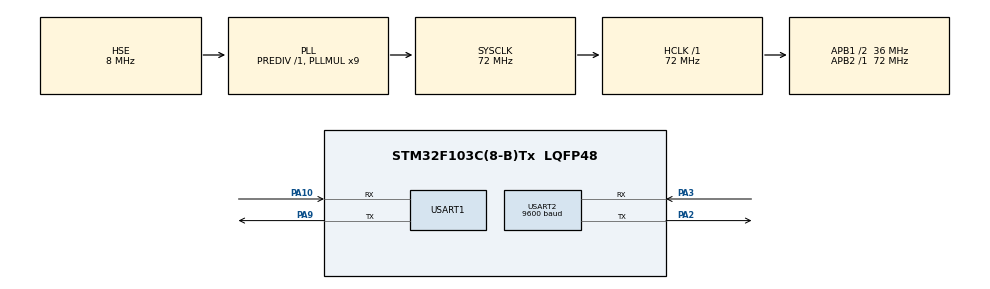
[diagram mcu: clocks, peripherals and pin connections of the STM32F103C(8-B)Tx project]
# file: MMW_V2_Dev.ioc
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Dma.Request0=USART2_RX
Dma.Request1=USART2_TX
Dma.Request2=USART1_RX
Dma.Request3=USART1_TX
Dma.USART1_RX.2.Direction=DMA_PERIPH_TO_MEMORY
Dma.USART1_RX.2.Instance=DMA1_Channel5
Dma.USART1_RX.2.MemDataAlignment=DMA_MDATAALIGN_BYTE
Dma.USART1_RX.2.MemInc=DMA_MINC_ENABLE
Dma.USART1_RX.2.Mode=DMA_CIRCULAR
Dma.USART1_RX.2.PeriphDataAlignment=DMA_PDATAALIGN_BYTE
Dma.USART1_RX.2.PeriphInc=DMA_PINC_DISABLE
Dma.USART1_RX.2.Priority=DMA_PRIORITY_LOW
Dma.USART1_TX.3.Direction=DMA_MEMORY_TO_PERIPH
Dma.USART1_TX.3.Instance=DMA1_Channel4
Dma.USART1_TX.3.MemDataAlignment=DMA_MDATAALIGN_BYTE
Dma.USART1_TX.3.MemInc=DMA_MINC_ENABLE
Dma.USART1_TX.3.Mode=DMA_CIRCULAR
Dma.USART1_TX.3.PeriphDataAlignment=DMA_PDATAALIGN_BYTE
Dma.USART1_TX.3.PeriphInc=DMA_PINC_DISABLE
Dma.USART1_TX.3.Priority=DMA_PRIORITY_LOW
Dma.USART2_RX.0.Direction=DMA_PERIPH_TO_MEMORY
Dma.USART2_RX.0.Instance=DMA1_Channel6
Dma.USART2_RX.0.MemDataAlignment=DMA_MDATAALIGN_BYTE
Dma.USART2_RX.0.MemInc=DMA_MINC_ENABLE
Dma.USART2_RX.0.Mode=DMA_CIRCULAR
Dma.USART2_RX.0.PeriphDataAlignment=DMA_PDATAALIGN_BYTE
Dma.USART2_RX.0.PeriphInc=DMA_PINC_DISABLE
Dma.USART2_RX.0.Priority=DMA_PRIORITY_LOW
Dma.USART2_TX.1.Direction=DMA_MEMORY_TO_PERIPH
Dma.USART2_TX.1.Instance=DMA1_Channel7
Dma.USART2_TX.1.MemDataAlignment=DMA_MDATAALIGN_BYTE
Dma.USART2_TX.1.MemInc=DMA_MINC_ENABLE
Dma.USART2_TX.1.Mode=DMA_CIRCULAR
Dma.USART2_TX.1.PeriphDataAlignment=DMA_PDATAALIGN_BYTE
Dma.USART2_TX.1.PeriphInc=DMA_PINC_DISABLE
Dma.USART2_TX.1.Priority=DMA_PRIORITY_LOW
Mcu.Family=STM32F1
Mcu.Name=STM32F103C(8-B)Tx
Mcu.Package=LQFP48
NVIC.DMA1_Channel4_IRQn=true\:0\:0\:false\:false\:true\:false\:true\:true
NVIC.DMA1_Channel5_IRQn=true\:0\:0\:false\:false\:true\:false\:true\:true
NVIC.DMA1_Channel6_IRQn=true\:0\:0\:false\:false\:true\:false\:true\:true
NVIC.DMA1_Channel7_IRQn=true\:0\:0\:false\:false\:true\:false\:true\:true
NVIC.PriorityGroup=NVIC_PRIORITYGROUP_4
NVIC.USART1_IRQn=true\:0\:0\:false\:false\:true\:true\:true\:true
NVIC.USART2_IRQn=true\:0\:0\:false\:false\:true\:true\:true\:true
PA10.Mode=Asynchronous
PA10.Signal=USART1_RX
PA13.Mode=Serial_Wire
PA13.Signal=SYS_JTMS-SWDIO
PA14.Mode=Serial_Wire
PA14.Signal=SYS_JTCK-SWCLK
PA2.Mode=Asynchronous
PA2.Signal=USART2_TX
PA3.Mode=Asynchronous
PA3.Signal=USART2_RX
PA9.Mode=Asynchronous
PA9.Signal=USART1_TX
PD0-OSC_IN.Mode=HSE-External-Oscillator
PD0-OSC_IN.Signal=RCC_OSC_IN
PD1-OSC_OUT.Mode=HSE-External-Oscillator
PD1-OSC_OUT.Signal=RCC_OSC_OUT
ProjectManager.HeapSize=0x200
ProjectManager.StackSize=0x400
ProjectManager.TargetToolchain=STM32CubeIDE
RCC.AHBFreq_Value=72000000
RCC.APB1CLKDivider=RCC_HCLK_DIV2
RCC.APB1Freq_Value=36000000
RCC.APB1TimFreq_Value=72000000
RCC.APB2Freq_Value=72000000
RCC.APB2TimFreq_Value=72000000
RCC.HCLKFreq_Value=72000000
RCC.PLLMUL=RCC_PLL_MUL9
RCC.PLLSourceVirtual=RCC_PLLSOURCE_HSE
RCC.SYSCLKFreq_VALUE=72000000
RCC.SYSCLKSource=RCC_SYSCLKSOURCE_PLLCLK
RCC.USBFreq_Value=72000000
USART1.VirtualMode=VM_ASYNC
USART2.BaudRate=9600
USART2.VirtualMode=VM_ASYNC
USART2.WordLength=WORDLENGTH_9B
board=custom

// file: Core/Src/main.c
/* USER CODE BEGIN Header */
/**
  ******************************************************************************
  * @file           : main.c
  * @brief          : Main program body
  ******************************************************************************
  * @attention
  *
  * Copyright (c) 2022 STMicroelectronics.
  * All rights reserved.
  *
  * This software is licensed under terms that can be found in the LICENSE file
  * in the root directory of this software component.
  * If no LICENSE file comes with this software, it is provided AS-IS.
  *
  ******************************************************************************
  */
/* USER CODE END Header */
#include "main.h"

 UART_HandleTypeDef huart1;
UART_HandleTypeDef huart2;
DMA_HandleTypeDef hdma_usart1_rx;
DMA_HandleTypeDef hdma_usart1_tx;
DMA_HandleTypeDef hdma_usart2_rx;
DMA_HandleTypeDef hdma_usart2_tx;

void SystemClock_Config(void);
static void MX_GPIO_Init(void);
static void MX_DMA_Init(void);
static void MX_USART1_UART_Init(void);
static void MX_USART2_UART_Init(void);

/* USER CODE BEGIN 0 */

uint8_t Rx_data_from_stc[5];
uint8_t receivedData4G[2];
uint8_t Transmit_To_DTU;

uint8_t Drop_Success[5] = {0x0FB,  0x002,  0x005,  0x000,  0x0FB};
uint8_t Drop_Not_Success[5] = {0x0FB,  0x002,  0x002,  0x000,  0x0FB};
uint8_t Motor_Error[5] = {0x0FB,  0x002,  0x000,  0x000,  0x0FB};

uint8_t dapat[2];

uint16_t A1[6] = {0x1FB,  0x102,  0x106,  0x10A,  0x101,  0x1FB};
uint16_t A2[6] = {0x1FB,  0x102,  0x106,  0x109,  0x101,  0x1FB};
uint16_t A3[6] = {0x1FB,  0x102,  0x106,  0x108,  0x101,  0x1FB};
uint16_t A4[6] = {0x1FB,  0x102,  0x106,  0x107,  0x101,  0x1FB};
uint16_t A5[6] = {0x1FB,  0x102,  0x106,  0x106,  0x101,  0x1FB};
uint16_t A6[6] = {0x1FB,  0x102,  0x106,  0x105,  0x101,  0x1FB};
uint16_t A7[6] = {0x1FB,  0x102,  0x106,  0x104,  0x101,  0x1FB};
uint16_t A8[6] = {0x1FB,  0x102,  0x106,  0x103,  0x101,  0x1FB};
uint16_t A9[6] = {0x1FB,  0x102,  0x106,  0x102,  0x101,  0x1FB};
uint16_t A10[6] ={0x1FB,  0x102,  0x106,  0x101,  0x101,  0x1FB};
uint16_t B1[6] = {0x1FB,  0x102,  0x105,  0x10A,  0x101,  0x1FB};
uint16_t B2[6] = {0x1FB,  0x102,  0x105,  0x109,  0x101,  0x1FB};
uint16_t B3[6] = {0x1FB,  0x102,  0x105,  0x108,  0x101,  0x1FB};
uint16_t B4[6] = {0x1FB,  0x102,  0x105,  0x107,  0x101,  0x1FB};
uint16_t B5[6] = {0x1FB,  0x102,  0x105,  0x106,  0x101,  0x1FB};
uint16_t B6[6] = {0x1FB,  0x102,  0x105,  0x105,  0x101,  0x1FB};
uint16_t B7[6] = {0x1FB,  0x102,  0x105,  0x104,  0x101,  0x1FB};
uint16_t B8[6] = {0x1FB,  0x102,  0x105,  0x103,  0x101,  0x1FB};
uint16_t B9[6] = {0x1FB,  0x102,  0x105,  0x102,  0x101,  0x1FB};
uint16_t B10[6] ={0x1FB,  0x102,  0x105,  0x101,  0x101,  0x1FB};
uint16_t C1[6] = {0x1FB,  0x102,  0x104,  0x10A,  0x101,  0x1FB};
uint16_t C2[6] = {0x1FB,  0x102,  0x104,  0x109,  0x101,  0x1FB};
uint16_t C3[6] = {0x1FB,  0x102,  0x104,  0x108,  0x101,  0x1FB};
uint16_t C4[6] = {0x1FB,  0x102,  0x104,  0x107,  0x101,  0x1FB};
uint16_t C5[6] = {0x1FB,  0x102,  0x104,  0x106,  0x101,  0x1FB};
uint16_t C6[6] = {0x1FB,  0x102,  0x104,  0x105,  0x101,  0x1FB};
uint16_t C7[6] = {0x1FB,  0x102,  0x104,  0x104,  0x101,  0x1FB};
uint16_t C8[6] = {0x1FB,  0x102,  0x104,  0x103,  0x101,  0x1FB};
uint16_t C9[6] = {0x1FB,  0x102,  0x104,  0x102,  0x101,  0x1FB};
uint16_t C10[6] ={0x1FB,  0x102,  0x104,  0x101,  0x101,  0x1FB};
uint16_t D1[6] = {0x1FB,  0x102,  0x103,  0x10A,  0x101,  0x1FB};
uint16_t D2[6] = {0x1FB,  0x102,  0x103,  0x109,  0x101,  0x1FB};
uint16_t D3[6] = {0x1FB,  0x102,  0x103,  0x108,  0x101,  0x1FB};
uint16_t D4[6] = {0x1FB,  0x102,  0x103,  0x107,  0x101,  0x1FB};
uint16_t D5[6] = {0x1FB,  0x102,  0x103,  0x106,  0x101,  0x1FB};
uint16_t D6[6] = {0x1FB,  0x102,  0x103,  0x105,  0x101,  0x1FB};
uint16_t D7[6] = {0x1FB,  0x102,  0x103,  0x104,  0x101,  0x1FB};
uint16_t D8[6] = {0x1FB,  0x102,  0x103,  0x103,  0x101,  0x1FB};
uint16_t D9[6] = {0x1FB,  0x102,  0x103,  0x102,  0x101,  0x1FB};
uint16_t D10[6] ={0x1FB,  0x102,  0x103,  0x101,  0x101,  0x1FB};
uint16_t E1[6] = {0x1FB,  0x102,  0x102,  0x10A,  0x101,  0x1FB};
uint16_t E2[6] = {0x1FB,  0x102,  0x102,  0x109,  0x101,  0x1FB};
uint16_t E3[6] = {0x1FB,  0x102,  0x102,  0x108,  0x101,  0x1FB};
uint16_t E4[6] = {0x1FB,  0x102,  0x102,  0x107,  0x101,  0x1FB};
uint16_t E5[6] = {0x1FB,  0x102,  0x102,  0x106,  0x101,  0x1FB};
uint16_t E6[6] = {0x1FB,  0x102,  0x102,  0x105,  0x101,  0x1FB};
uint16_t E7[6] = {0x1FB,  0x102,  0x102,  0x104,  0x101,  0x1FB};
uint16_t E8[6] = {0x1FB,  0x102,  0x102,  0x103,  0x101,  0x1FB};
uint16_t E9[6] = {0x1FB,  0x102,  0x102,  0x102,  0x101,  0x1FB};
uint16_t E10[6] ={0x1FB,  0x102,  0x102,  0x101,  0x101,  0x1FB};
uint16_t F1[6] = {0x1FB,  0x102,  0x101,  0x10A,  0x101,  0x1FB};
uint16_t F2[6] = {0x1FB,  0x102,  0x101,  0x109,  0x101,  0x1FB};
uint16_t F3[6] = {0x1FB,  0x102,  0x101,  0x108,  0x101,  0x1FB};
uint16_t F4[6] = {0x1FB,  0x102,  0x101,  0x107,  0x101,  0x1FB};
uint16_t F5[6] = {0x1FB,  0x102,  0x101,  0x106,  0x101,  0x1FB};
uint16_t F6[6] = {0x1FB,  0x102,  0x101,  0x105,  0x101,  0x1FB};
uint16_t F7[6] = {0x1FB,  0x102,  0x101,  0x104,  0x101,  0x1FB};
uint16_t F8[6] = {0x1FB,  0x102,  0x101,  0x103,  0x101,  0x1FB};
uint16_t F9[6] = {0x1FB,  0x102,  0x101,  0x102,  0x101,  0x1FB};
uint16_t F10[6] ={0x1FB,  0x102,  0x101,  0x101,  0x101,  0x1FB};

void HAL_UART_TxCpltCallback(UART_HandleTypeDef *huart)
{
	//HAL_UART_Transmit_IT(&huart2, Tx_data, sizeof(Tx_data));
}

void HAL_UART_RxCpltCallback(UART_HandleTypeDef *huart){
	HAL_UART_Receive_DMA(&huart2, Rx_data_from_stc, 5); //restart the interupt reception mode
	HAL_UART_Receive_IT(&huart1,receivedData4G, 2);

}

void transmit_Data_to_DTU(){

	if (strcmp(Rx_data_from_stc, Drop_Success) == 0){
		HAL_UART_Transmit_IT(&huart1, "Hi\n", sizeof("Hi\n"));
		dapat[0] = 2;
		dapat[1] = 2;
	}
	else if (strcmp(Rx_data_from_stc, Drop_Not_Success) == 0){
		HAL_UART_Transmit_IT(&huart1, "ND\n", 5);
		dapat[0] = 3;
		dapat[1] = 3;
	}
	else if (strcmp(Rx_data_from_stc, Motor_Error) == 0){
		HAL_UART_Transmit_IT(&huart1, "ME\n", 5);
		dapat[0] = 4;
		dapat[1] = 4;
	}
	else{

	}
}

void receive_Command_from_DTU(void){

	/////TRAY A/////
	if(strcmp(receivedData4G, "A1") == 0){       		//A1
	     HAL_UART_Transmit_IT(&huart2, (uint8_t *)A1, 6);
	     HAL_Delay(2000);
	     receivedData4G[0] = 0;
	     receivedData4G[1] = 0;
	}

	 else if (strcmp(receivedData4G, "A2") == 0){       //A2
	     HAL_UART_Transmit_IT(&huart2, (uint8_t *)A2, 6);
	     HAL_Delay(2000);
	     receivedData4G[0] = 0;
	     receivedData4G[1] = 0;
	  }
	 else if (strcmp(receivedData4G, "A3") == 0){       //A3
	     HAL_UART_Transmit_IT(&huart2, (uint8_t *)A3, 6);
	     HAL_Delay(2000);
	     receivedData4G[0] = 0;
	     receivedData4G[1] = 0;
	  }
	 else if (strcmp(receivedData4G, "A4") == 0){       //A4
	     HAL_UART_Transmit_IT(&huart2, (uint8_t *)A4, 6);
	     HAL_Delay(2000);
	     receivedData4G[0] = 0;
	     receivedData4G[1] = 0;
	  }
	 else if (strcmp(receivedData4G, "A5") == 0){       //A5
	     HAL_UART_Transmit_IT(&huart2, (uint8_t *)A5, 6);
	     HAL_Delay(2000);
	     receivedData4G[0] = 0;
	     receivedData4G[1] = 0;
	  }
	 else if (strcmp(receivedData4G, "A6") == 0){       //A6
	     HAL_UART_Transmit_IT(&huart2, (uint8_t *)A6, 6);
	     HAL_Delay(2000);
	     receivedData4G[0] = 0;
	     receivedData4G[1] = 0;
	  }
	 else if (strcmp(receivedData4G, "A7") == 0){       //A7
	     HAL_UART_Transmit_IT(&huart2, (uint8_t *)A7, 6);
	     HAL_Delay(2000);
	     receivedData4G[0] = 0;
	     receivedData4G[1] = 0;
	  }
	 else if (strcmp(receivedData4G, "A8") == 0){       //A8
	     HAL_UART_Transmit_IT(&huart2, (uint8_t *)A8, 6);
	     HAL_Delay(2000);
	     receivedData4G[0] = 0;
	     receivedData4G[1] = 0;
	  }
	 else if (strcmp(receivedData4G, "A9") == 0){       //A9
	     HAL_UART_Transmit_IT(&huart2, (uint8_t *)A9, 6);
	     HAL_Delay(2000);
	     receivedData4G[0] = 0;
	     receivedData4G[1] = 0;
	  }
	 else if (strcmp(receivedData4G, "AA") == 0){       //A10
	     HAL_UART_Transmit_IT(&huart2, (uint8_t *)A10, 6);
	     HAL_Delay(2000);
	     receivedData4G[0] = 0;
	     receivedData4G[1] = 0;
	  }
	 /////TRAY B/////
	 else if (strcmp(receivedData4G, "B1") == 0){       //B1
	     HAL_UART_Transmit_IT(&huart2, (uint8_t *)B1, 6);
	     HAL_Delay(2000);
	     receivedData4G[0] = 0;
	     receivedData4G[1] = 0;
	  }
	 else if (strcmp(receivedData4G, "B2") == 0){       //B2
	     HAL_UART_Transmit_IT(&huart2, (uint8_t *)B2, 6);
	     HAL_Delay(2000);
	     receivedData4G[0] = 0;
	     receivedData4G[1] = 0;
	  }
	 else if (strcmp(receivedData4G, "B3") == 0){       //B3
	     HAL_UART_Transmit_IT(&huart2, (uint8_t *)B3, 6);
	     HAL_Delay(2000);
	     receivedData4G[0] = 0;
	     receivedData4G[1] = 0;
	  }
	 else if (strcmp(receivedData4G, "B4") == 0){       //B4
	     HAL_UART_Transmit_IT(&huart2, (uint8_t *)B4, 6);
	     HAL_Delay(2000);
	     receivedData4G[0] = 0;
	     receivedData4G[1] = 0;
	  }
	 else if (strcmp(receivedData4G, "B5") == 0){       //B5
	     HAL_UART_Transmit_IT(&huart2, (uint8_t *)B5, 6);
	     HAL_Delay(2000);
	     receivedData4G[0] = 0;
	     receivedData4G[1] = 0;
	  }
	 else if (strcmp(receivedData4G, "B6") == 0){       //B6
	     HAL_UART_Transmit_IT(&huart2, (uint8_t *)B6, 6);
	     HAL_Delay(2000);
	     receivedData4G[0] = 0;
	     receivedData4G[1] = 0;
	  }
	 else if (strcmp(receivedData4G, "B7") == 0){       //B7
	     HAL_UART_Transmit_IT(&huart2, (uint8_t *)B7, 6);
	     HAL_Delay(2000);
	     receivedData4G[0] = 0;
	     receivedData4G[1] = 0;
	  }
	 else if (strcmp(receivedData4G, "B8") == 0){       //B8
	     HAL_UART_Transmit_IT(&huart2, (uint8_t *)B8, 6);
	     HAL_Delay(2000);
	     receivedData4G[0] = 0;
	     receivedData4G[1] = 0;
	  }
	 else if (strcmp(receivedData4G, "B9") == 0){       //B9
	     HAL_UART_Transmit_IT(&huart2, (uint8_t *)B9, 6);
	     HAL_Delay(2000);
	     receivedData4G[0] = 0;
	     receivedData4G[1] = 0;
	  }
	 else if (strcmp(receivedData4G, "BB") == 0){       //B10
	     HAL_UART_Transmit_IT(&huart2, (uint8_t *)B10, 6);
	     HAL_Delay(2000);
	     receivedData4G[0] = 0;
	     receivedData4G[1] = 0;
	  }
	 /////TRAY C/////
	 else if (strcmp(receivedData4G, "C1") == 0){       //C1
	     HAL_UART_Transmit_IT(&huart2, (uint8_t *)C1, 6);
	     HAL_Delay(2000);
	     receivedData4G[0] = 0;
	     receivedData4G[1] = 0;
	  }
	 else if (strcmp(receivedData4G, "C2") == 0){       //C2
	     HAL_UART_Transmit_IT(&huart2, (uint8_t *)C2, 6);
	     HAL_Delay(2000);
	     receivedData4G[0] = 0;
	     receivedData4G[1] = 0;
	  }
	 else if (strcmp(receivedData4G, "C3") == 0){       //C3
	     HAL_UART_Transmit_IT(&huart2, (uint8_t *)C3, 6);
	     HAL_Delay(2000);
	     receivedData4G[0] = 0;
	     receivedData4G[1] = 0;
	  }
	 else if (strcmp(receivedData4G, "C4") == 0){       //C4
	     HAL_UART_Transmit_IT(&huart2, (uint8_t *)C4, 6);
	     HAL_Delay(2000);
	     receivedData4G[0] = 0;
	     receivedData4G[1] = 0;
	  }
	 else if (strcmp(receivedData4G, "C5") == 0){       //C5
	     HAL_UART_Transmit_IT(&huart2, (uint8_t *)C5, 6);
	     HAL_Delay(2000);
	     receivedData4G[0] = 0;
	     receivedData4G[1] = 0;
	  }
	 else if (strcmp(receivedData4G, "C6") == 0){       //C6
	     HAL_UART_Transmit_IT(&huart2, (uint8_t *)C6, 6);
	     HAL_Delay(2000);
	     receivedData4G[0] = 0;
	     receivedData4G[1] = 0;
	  }
	 else if (strcmp(receivedData4G, "C7") == 0){       //C7
	     HAL_UART_Transmit_IT(&huart2, (uint8_t *)C7, 6);
	     HAL_Delay(2000);
	     receivedData4G[0] = 0;
	     receivedData4G[1] = 0;
	  }
	 else if (strcmp(receivedData4G, "C8") == 0){       //C8
	     HAL_UART_Transmit_IT(&huart2, (uint8_t *)C8, 6);
	     HAL_Delay(2000);
	     receivedData4G[0] = 0;
	     receivedData4G[1] = 0;
	  }
	 else if (strcmp(receivedData4G, "C9") == 0){       //C9
	     HAL_UART_Transmit_IT(&huart2, (uint8_t *)C9, 6);
	     HAL_Delay(2000);
	     receivedData4G[0] = 0;
	     receivedData4G[1] = 0;
	  }
	 else if (strcmp(receivedData4G, "CC") == 0){       //C10
	     HAL_UART_Transmit_IT(&huart2, (uint8_t *)C10, 6);
	     HAL_Delay(2000);
	     receivedData4G[0] = 0;
	     receivedData4G[1] = 0;
	  }
	 /////TRAY D/////
	 else if (strcmp(receivedData4G, "D1") == 0){       //D1
	     HAL_UART_Transmit_IT(&huart2, (uint8_t *)D1, 6);
	     HAL_Delay(2000);
	     receivedData4G[0] = 0;
	     receivedData4G[1] = 0;
	  }
	 else if (strcmp(receivedData4G, "D2") == 0){       //D2
	     HAL_UART_Transmit_IT(&huart2, (uint8_t *)D2, 6);
	     HAL_Delay(2000);
	     receivedData4G[0] = 0;
	     receivedData4G[1] = 0;
	  }
	 else if (strcmp(receivedData4G, "D3") == 0){       //D3
	     HAL_UART_Transmit_IT(&huart2, (uint8_t *)D3, 6);
	     HAL_Delay(2000);
	     receivedData4G[0] = 0;
	     receivedData4G[1] = 0;
	  }
	 else if (strcmp(receivedData4G, "D4") == 0){       //D4
	     HAL_UART_Transmit_IT(&huart2, (uint8_t *)D4, 6);
	     HAL_Delay(2000);
	     receivedData4G[0] = 0;
	     receivedData4G[1] = 0;
	  }
	 else if (strcmp(receivedData4G, "D5") == 0){       //D5
	     HAL_UART_Transmit_IT(&huart2, (uint8_t *)D5, 6);
	     HAL_Delay(2000);
	     receivedData4G[0] = 0;
	     receivedData4G[1] = 0;
	  }
	 else if (strcmp(receivedData4G, "D6") == 0){       //D6
	     HAL_UART_Transmit_IT(&huart2, (uint8_t *)D6, 6);
	     HAL_Delay(2000);
	     receivedData4G[0] = 0;
	     receivedData4G[1] = 0;
	  }
	 else if (strcmp(receivedData4G, "D7") == 0){       //D7
	     HAL_UART_Transmit_IT(&huart2, (uint8_t *)D7, 6);
	     HAL_Delay(2000);
	     receivedData4G[0] = 0;
	     receivedData4G[1] = 0;
	  }
	 else if (strcmp(receivedData4G, "D8") == 0){       //D8
	     HAL_UART_Transmit_IT(&huart2, (uint8_t *)D8, 6);
	     HAL_Delay(2000);
	     receivedData4G[0] = 0;
	     receivedData4G[1] = 0;
	  }
	 else if (strcmp(receivedData4G, "D9") == 0){       //D9
	     HAL_UART_Transmit_IT(&huart2, (uint8_t *)D9, 6);
	     HAL_Delay(2000);
	     receivedData4G[0] = 0;
	     receivedData4G[1] = 0;
	  }
	 else if (strcmp(receivedData4G, "DD") == 0){       //D10
	     HAL_UART_Transmit_IT(&huart2, (uint8_t *)D10, 6);
	     HAL_Delay(2000);
	     receivedData4G[0] = 0;
	     receivedData4G[1] = 0;
	  }
	 /////TRAY E/////
	 else if (strcmp(receivedData4G, "E1") == 0){       //E1
	     HAL_UART_Transmit_IT(&huart2, (uint8_t *)E1, 6);
	     HAL_Delay(2000);
	     receivedData4G[0] = 0;
	     receivedData4G[1] = 0;
	  }
	 else if (strcmp(receivedData4G, "E2") == 0){       //E2
	     HAL_UART_Transmit_IT(&huart2, (uint8_t *)E2, 6);
	     HAL_Delay(2000);
	     receivedData4G[0] = 0;
	     receivedData4G[1] = 0;
	  }
	 else if (strcmp(receivedData4G, "E3") == 0){       //E3
	     HAL_UART_Transmit_IT(&huart2, (uint8_t *)E3, 6);
	     HAL_Delay(2000);
	     receivedData4G[0] = 0;
	     receivedData4G[1] = 0;
	  }
	 else if (strcmp(receivedData4G, "E4") == 0){       //E4
	     HAL_UART_Transmit_IT(&huart2, (uint8_t *)E4, 6);
	     HAL_Delay(2000);
	     receivedData4G[0] = 0;
	     receivedData4G[1] = 0;
	  }
	 else if (strcmp(receivedData4G, "E5") == 0){       //E5
	     HAL_UART_Transmit_IT(&huart2, (uint8_t *)E5, 6);
	     HAL_Delay(2000);
	     receivedData4G[0] = 0;
	     receivedData4G[1] = 0;
	  }
	 else if (strcmp(receivedData4G, "E6") == 0){       //E6
	     HAL_UART_Transmit_IT(&huart2, (uint8_t *)E6, 6);
	     HAL_Delay(2000);
	     receivedData4G[0] = 0;
	     receivedData4G[1] = 0;
	  }
	 else if (strcmp(receivedData4G, "E7") == 0){       //E7
	     HAL_UART_Transmit_IT(&huart2, (uint8_t *)E7, 6);
	     HAL_Delay(2000);
	     receivedData4G[0] = 0;
	     receivedData4G[1] = 0;
	  }
	 else if (strcmp(receivedData4G, "E8") == 0){       //E8
	     HAL_UART_Transmit_IT(&huart2, (uint8_t *)E8, 6);
	     HAL_Delay(2000);
	     receivedData4G[0] = 0;
	     receivedData4G[1] = 0;
	  }
	 else if (strcmp(receivedData4G, "E9") == 0){       //E9
	     HAL_UART_Transmit_IT(&huart2, (uint8_t *)E9, 6);
	     HAL_Delay(2000);
	     receivedData4G[0] = 0;
	     receivedData4G[1] = 0;
	  }
	 else if (strcmp(receivedData4G, "EE") == 0){       //E10
	     HAL_UART_Transmit_IT(&huart2, (uint8_t *)E10, 6);
	     HAL_Delay(2000);
	     receivedData4G[0] = 0;
	     receivedData4G[1] = 0;
	  }
	 /////TRAY F/////
	 else if (strcmp(receivedData4G, "F1") == 0){       //F1
	     HAL_UART_Transmit_IT(&huart2, (uint8_t *)F1, 6);
	     HAL_Delay(2000);
	     receivedData4G[0] = 0;
	     receivedData4G[1] = 0;
	  }
	 else if (strcmp(receivedData4G, "F2") == 0){       //F2
	     HAL_UART_Transmit_IT(&huart2, (uint8_t *)F2, 6);
	     HAL_Delay(2000);
	     receivedData4G[0] = 0;
	     receivedData4G[1] = 0;
	  }
	 else if (strcmp(receivedData4G, "F3") == 0){       //F3
	     HAL_UART_Transmit_IT(&huart2, (uint8_t *)F3, 6);
	     HAL_Delay(2000);
	     receivedData4G[0] = 0;
	     receivedData4G[1] = 0;
	  }
	 else if (strcmp(receivedData4G, "F4") == 0){       //F4
	     HAL_UART_Transmit_IT(&huart2, (uint8_t *)F4, 6);
	     HAL_Delay(2000);
	     receivedData4G[0] = 0;
	     receivedData4G[1] = 0;
	  }
	 else if (strcmp(receivedData4G, "F5") == 0){       //F5
	     HAL_UART_Transmit_IT(&huart2, (uint8_t *)F5, 6);
	     HAL_Delay(2000);
	     receivedData4G[0] = 0;
	     receivedData4G[1] = 0;
	  }
	 else if (strcmp(receivedData4G, "F6") == 0){       //F6
	     HAL_UART_Transmit_IT(&huart2, (uint8_t *)F6, 6);
	     HAL_Delay(2000);
	     receivedData4G[0] = 0;
	     receivedData4G[1] = 0;
	  }
	 else if (strcmp(receivedData4G, "F7") == 0){       //F7
	     HAL_UART_Transmit_IT(&huart2, (uint8_t *)F7, 6);
	     HAL_Delay(2000);
	     receivedData4G[0] = 0;
	     receivedData4G[1] = 0;
	  }
	 else if (strcmp(receivedData4G, "F8") == 0){       //F8
	     HAL_UART_Transmit_IT(&huart2, (uint8_t *)F8, 6);
	     HAL_Delay(2000);
	     receivedData4G[0] = 0;
	     receivedData4G[1] = 0;
	  }
	 else if (strcmp(receivedData4G, "F9") == 0){       //F9
	     HAL_UART_Transmit_IT(&huart2, (uint8_t *)F9, 6);
	     HAL_Delay(2000);
	     receivedData4G[0] = 0;
	     receivedData4G[1] = 0;
	  }
	 else if (strcmp(receivedData4G, "FF") == 0){       //F10
	     HAL_UART_Transmit_IT(&huart2, (uint8_t *)F10, 6);
	     HAL_Delay(2000);
	     receivedData4G[0] = 0;
	     receivedData4G[1] = 0;
	  }

	 else {

	 }

}

/* USER CODE END 0 */

int main(void)
{

  /* MCU Configuration--------------------------------------------------------*/

  /* Reset of all peripherals, Initializes the Flash interface and the Systick. */
  HAL_Init();

  /* Configure the system clock */
  SystemClock_Config();

  /* Initialize all configured peripherals */
  MX_GPIO_Init();
  MX_DMA_Init();
  MX_USART1_UART_Init();
  MX_USART2_UART_Init();
  /* USER CODE BEGIN 2 */
  HAL_UART_Receive_DMA(&huart2, Rx_data_from_stc, 5);
  HAL_UART_Receive_IT(&huart1,receivedData4G, 2);
  /* USER CODE END 2 */

  /* Infinite loop */
  while (1)
  {
	  receive_Command_from_DTU();
	  transmit_Data_to_DTU();
  }
}

void SystemClock_Config(void)
{
  RCC_OscInitTypeDef RCC_OscInitStruct = {0};
  RCC_ClkInitTypeDef RCC_ClkInitStruct = {0};

  /** Initializes the RCC Oscillators according to the specified parameters
  * in the RCC_OscInitTypeDef structure.
  */
  RCC_OscInitStruct.OscillatorType = RCC_OSCILLATORTYPE_HSE;
  RCC_OscInitStruct.HSEState = RCC_HSE_ON;
  RCC_OscInitStruct.HSEPredivValue = RCC_HSE_PREDIV_DIV1;
  RCC_OscInitStruct.HSIState = RCC_HSI_ON;
  RCC_OscInitStruct.PLL.PLLState = RCC_PLL_ON;
  RCC_OscInitStruct.PLL.PLLSource = RCC_PLLSOURCE_HSE;
  RCC_OscInitStruct.PLL.PLLMUL = RCC_PLL_MUL9;
  if (HAL_RCC_OscConfig(&RCC_OscInitStruct) != HAL_OK)
  {
    Error_Handler();
  }

  /** Initializes the CPU, AHB and APB buses clocks
  */
  RCC_ClkInitStruct.ClockType = RCC_CLOCKTYPE_HCLK|RCC_CLOCKTYPE_SYSCLK
                              |RCC_CLOCKTYPE_PCLK1|RCC_CLOCKTYPE_PCLK2;
  RCC_ClkInitStruct.SYSCLKSource = RCC_SYSCLKSOURCE_PLLCLK;
  RCC_ClkInitStruct.AHBCLKDivider = RCC_SYSCLK_DIV1;
  RCC_ClkInitStruct.APB1CLKDivider = RCC_HCLK_DIV2;
  RCC_ClkInitStruct.APB2CLKDivider = RCC_HCLK_DIV1;

  if (HAL_RCC_ClockConfig(&RCC_ClkInitStruct, FLASH_LATENCY_2) != HAL_OK)
  {
    Error_Handler();
  }
}

static void MX_USART1_UART_Init(void)
{

  huart1.Instance = USART1;
  huart1.Init.BaudRate = 115200;
  huart1.Init.WordLength = UART_WORDLENGTH_8B;
  huart1.Init.StopBits = UART_STOPBITS_1;
  huart1.Init.Parity = UART_PARITY_NONE;
  huart1.Init.Mode = UART_MODE_TX_RX;
  huart1.Init.HwFlowCtl = UART_HWCONTROL_NONE;
  huart1.Init.OverSampling = UART_OVERSAMPLING_16;
  if (HAL_UART_Init(&huart1) != HAL_OK)
  {
    Error_Handler();
  }

}

static void MX_USART2_UART_Init(void)
{

  huart2.Instance = USART2;
  huart2.Init.BaudRate = 9600;
  huart2.Init.WordLength = UART_WORDLENGTH_9B;
  huart2.Init.StopBits = UART_STOPBITS_1;
  huart2.Init.Parity = UART_PARITY_NONE;
  huart2.Init.Mode = UART_MODE_TX_RX;
  huart2.Init.HwFlowCtl = UART_HWCONTROL_NONE;
  huart2.Init.OverSampling = UART_OVERSAMPLING_16;
  if (HAL_UART_Init(&huart2) != HAL_OK)
  {
    Error_Handler();
  }

}

static void MX_DMA_Init(void)
{

  /* DMA controller clock enable */
  __HAL_RCC_DMA1_CLK_ENABLE();

  /* DMA interrupt init */
  /* DMA1_Channel4_IRQn interrupt configuration */
  HAL_NVIC_SetPriority(DMA1_Channel4_IRQn, 0, 0);
  HAL_NVIC_EnableIRQ(DMA1_Channel4_IRQn);
  /* DMA1_Channel5_IRQn interrupt configuration */
  HAL_NVIC_SetPriority(DMA1_Channel5_IRQn, 0, 0);
  HAL_NVIC_EnableIRQ(DMA1_Channel5_IRQn);
  /* DMA1_Channel6_IRQn interrupt configuration */
  HAL_NVIC_SetPriority(DMA1_Channel6_IRQn, 0, 0);
  HAL_NVIC_EnableIRQ(DMA1_Channel6_IRQn);
  /* DMA1_Channel7_IRQn interrupt configuration */
  HAL_NVIC_SetPriority(DMA1_Channel7_IRQn, 0, 0);
  HAL_NVIC_EnableIRQ(DMA1_Channel7_IRQn);

}

static void MX_GPIO_Init(void)
{

  /* GPIO Ports Clock Enable */
  __HAL_RCC_GPIOD_CLK_ENABLE();
  __HAL_RCC_GPIOA_CLK_ENABLE();

}

void Error_Handler(void)
{
  __disable_irq();
  while (1)
  {
  }
}
